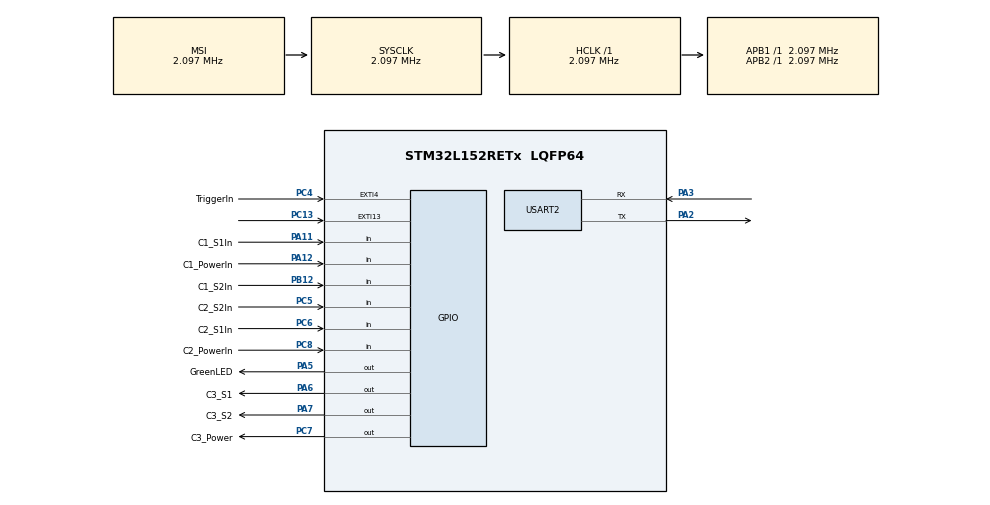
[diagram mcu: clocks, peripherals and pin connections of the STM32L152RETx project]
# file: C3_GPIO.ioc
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Mcu.Family=STM32L1
Mcu.Name=STM32L152RETx
Mcu.Package=LQFP64
NVIC.EXTI15_10_IRQn=true\:0\:0\:false\:false\:true\:true\:true
NVIC.EXTI4_IRQn=true\:0\:0\:false\:false\:true\:true\:true
NVIC.PriorityGroup=NVIC_PRIORITYGROUP_4
PA11.GPIO_Label=C1_S1In
PA11.Signal=GPIO_Input
PA12.GPIO_Label=C1_PowerIn
PA12.Signal=GPIO_Input
PA2.Mode=Asynchronous
PA2.Signal=USART2_TX
PA3.Mode=Asynchronous
PA3.Signal=USART2_RX
PA5.GPIO_Label=GreenLED
PA5.Signal=GPIO_Output
PA6.GPIO_Label=C3_S1
PA6.Signal=GPIO_Output
PA7.GPIO_Label=C3_S2
PA7.Signal=GPIO_Output
PB12.GPIO_Label=C1_S2In
PB12.Signal=GPIO_Input
PC13-WKUP2.GPIO_ModeDefaultEXTI=GPIO_MODE_IT_FALLING
PC13-WKUP2.Signal=GPXTI13
PC4.GPIO_Label=TriggerIn
PC4.GPIO_ModeDefaultEXTI=GPIO_MODE_IT_FALLING
PC4.Signal=GPXTI4
PC5.GPIO_Label=C2_S2In
PC5.Signal=GPIO_Input
PC6.GPIO_Label=C2_S1In
PC6.Signal=GPIO_Input
PC7.GPIO_Label=C3_Power
PC7.Signal=GPIO_Output
PC8.GPIO_Label=C2_PowerIn
PC8.Signal=GPIO_Input
ProjectManager.HeapSize=0x200
ProjectManager.StackSize=0x400
ProjectManager.TargetToolchain=MDK-ARM V5.27
RCC.48MHZClocksFreq_Value=24000000
RCC.AHBFreq_Value=2097000
RCC.APB1Freq_Value=2097000
RCC.APB1TimFreq_Value=2097000
RCC.APB2Freq_Value=2097000
RCC.APB2TimFreq_Value=2097000
RCC.HCLKFreq_Value=2097000
RCC.HSE_VALUE=24000000
RCC.HSI_VALUE=16000000
RCC.LSE_VALUE=32768
RCC.MSI_VALUE=2097000
RCC.SYSCLKFreq_VALUE=2097000
RCC.VCOOutputFreq_Value=48000000
USART2.VirtualMode=VM_ASYNC
board=custom

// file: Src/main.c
/* USER CODE BEGIN Header */
/**
  ******************************************************************************
  * @file           : main.c
  * @brief          : Main program body
  ******************************************************************************
  * @attention
  *
  * <h2><center>&copy; Copyright (c) 2020 STMicroelectronics.
  * All rights reserved.</center></h2>
  *
  * This software component is licensed by ST under BSD 3-Clause license,
  * the "License"; You may not use this file except in compliance with the
  * License. You may obtain a copy of the License at:
  *                        opensource.org/licenses/BSD-3-Clause
  *
  ******************************************************************************
  */
/* USER CODE END Header */

#include "main.h"

/* USER CODE BEGIN Includes */
#include <stdio.h>
/* USER CODE END Includes */

/* USER CODE BEGIN PTD */
typedef enum{
	P_Core = 0x7, S_Core = 0x5, Reboot = 0x1, Sleep = 0x6, Killed = 0x0
}States;

typedef enum{
	ThreeCore = 0 , TwoCore =  1 , OneCore = 2
}CoreStatus;
/* USER CODE END PTD */

/* USER CODE BEGIN PD */
#define Power 1
#define NoPower 0

/* USER CODE END PD */

/* USER CODE BEGIN PM */

#define Read(gpio, pin) HAL_GPIO_ReadPin(gpio, pin)
#define Combine(pin1, pin2, pin3) (pin1 << 2) | (pin2 << 1) | pin1
/* USER CODE END PM */

UART_HandleTypeDef huart2;

/* USER CODE BEGIN PV */
int trigger = 0;

/* USER CODE END PV */

void SystemClock_Config(void);
static void MX_GPIO_Init(void);
static void MX_USART2_UART_Init(void);
/* USER CODE BEGIN PFP */
void display_LED(States *state);
States state_checker(States my_state);
CoreStatus power_checker(void);
void GOTHEFUCKTOSLEEP(void);
/* USER CODE END PFP */

/* USER CODE BEGIN 0 */
char Msg1[100] = {0};

/* USER CODE END 0 */

int main(void)
{
  /* USER CODE BEGIN 1 */
	States state;
	CoreStatus power;
	state = S_Core;
	power = ThreeCore;
  /* USER CODE END 1 */

  /* MCU Configuration--------------------------------------------------------*/

  /* Reset of all peripherals, Initializes the Flash interface and the Systick. */
  HAL_Init();

  /* Configure the system clock */
  SystemClock_Config();

  /* Initialize all configured peripherals */
  MX_GPIO_Init();
  MX_USART2_UART_Init();

  /* Infinite loop */
  while (1)
  {

    /* USER CODE BEGIN 3 */
		//POLL POWER STATUS FROM EACH CORE
		//spower = power_checker();

			if(trigger == 1){
					switch(state){
						case P_Core:
														snprintf((char *)Msg1, sizeof(Msg1), "\r\nP_Core\r\n");
							HAL_UART_Transmit(&huart2, (uint8_t *) Msg1, sizeof(Msg1), 1);
							//if( power == ThreeCore || power == TwoCore) state = S_Core;
							//else state = P_Core;
							state = S_Core;
					//	HAL_GPIO_WritePin(GPIOA, GreenLED_Pin, GPIO_PIN_SET);
							//state = state_checker(state);
							break;
						case S_Core:
							snprintf((char *)Msg1, sizeof(Msg1), "\r\nS_Core\r\n");
							HAL_UART_Transmit(&huart2, (uint8_t *) Msg1, sizeof(Msg1), 1);
							//if(power == ThreeCore || power == TwoCore) state = Reboot;
							//If you are the only core
							//if(power == OneCore) state = P_Core;
							state = Reboot;
						//HAL_GPIO_WritePin(GPIOA, GreenLED_Pin, GPIO_PIN_SET);
							break;
						case Reboot:
							//if(power == ThreeCore) state = Sleep;
						  //else if(power == TwoCore) state = P_Core;
							state = Sleep;
						//HAL_GPIO_WritePin(GPIOA, GreenLED_Pin, GPIO_PIN_SET);
							break;
						case Sleep:
							//UNIQUE TO THREECORE
							state = P_Core;
						//HAL_GPIO_WritePin(GPIOA, GreenLED_Pin, GPIO_PIN_SET);
							break;
						case Killed:
							state = Killed;
							HAL_GPIO_WritePin(GPIOC, C3_Power_Pin, GPIO_PIN_RESET);
							break;
					}
					//RESET TRIGGER
					trigger = 0;
			}
			//display_LED(&state);
			#if 0
			else{

				if(state == Sleep){
					snprintf((char *)Msg1, sizeof(Msg1), "\r\nSleep soon\r\n");
					HAL_UART_Transmit(&huart2, (uint8_t *) Msg1, sizeof(Msg1), 1);
					//HAL_Delay(2500);
					//going to sleep
					GOTHEFUCKTOSLEEP();
					//woke up
					snprintf((char *)Msg1, sizeof(Msg1), "\r\nWoke Up\r\n");
					HAL_UART_Transmit(&huart2, (uint8_t *) Msg1, sizeof(Msg1), 1);

					/*
					for(int i = 0; i < 5; ++i){
						HAL_GPIO_TogglePin(GPIOA, GPIO_PIN_5);
						HAL_Delay(150);
					}
					*/
			}
		}
		#endif
		if(state == Sleep){
			//HAL_GPIO_WritePin(GPIOA, GreenLED_Pin, GPIO_PIN_SET);
			snprintf((char *)Msg1, sizeof(Msg1), "\r\nSleep soon\r\n");
			HAL_UART_Transmit(&huart2, (uint8_t *) Msg1, sizeof(Msg1), 1);

			GOTHEFUCKTOSLEEP();
					for(int i = 0; i < 5; ++i){
						HAL_GPIO_TogglePin(GPIOA, GPIO_PIN_5);
						HAL_Delay(150);
					}
					snprintf((char *)Msg1, sizeof(Msg1), "\r\nWoke Up\r\n");
					HAL_UART_Transmit(&huart2, (uint8_t *) Msg1, sizeof(Msg1), 1);
		}
		snprintf((char *)Msg1, sizeof(Msg1), "\r\nstate:%d %d\r\n", state, power);
		HAL_UART_Transmit(&huart2, (uint8_t *) Msg1, sizeof(Msg1), 1);
		//display_LED(&state);
		//HAL_Delay(500);

  }
  /* USER CODE END 3 */
}

void SystemClock_Config(void)
{
  RCC_OscInitTypeDef RCC_OscInitStruct = {0};
  RCC_ClkInitTypeDef RCC_ClkInitStruct = {0};

  /** Configure the main internal regulator output voltage
  */
  __HAL_PWR_VOLTAGESCALING_CONFIG(PWR_REGULATOR_VOLTAGE_SCALE1);
  /** Initializes the CPU, AHB and APB busses clocks
  */
  RCC_OscInitStruct.OscillatorType = RCC_OSCILLATORTYPE_MSI;
  RCC_OscInitStruct.MSIState = RCC_MSI_ON;
  RCC_OscInitStruct.MSICalibrationValue = 0;
  RCC_OscInitStruct.MSIClockRange = RCC_MSIRANGE_5;
  RCC_OscInitStruct.PLL.PLLState = RCC_PLL_NONE;
  if (HAL_RCC_OscConfig(&RCC_OscInitStruct) != HAL_OK)
  {
    Error_Handler();
  }
  /** Initializes the CPU, AHB and APB busses clocks
  */
  RCC_ClkInitStruct.ClockType = RCC_CLOCKTYPE_HCLK|RCC_CLOCKTYPE_SYSCLK
                              |RCC_CLOCKTYPE_PCLK1|RCC_CLOCKTYPE_PCLK2;
  RCC_ClkInitStruct.SYSCLKSource = RCC_SYSCLKSOURCE_MSI;
  RCC_ClkInitStruct.AHBCLKDivider = RCC_SYSCLK_DIV1;
  RCC_ClkInitStruct.APB1CLKDivider = RCC_HCLK_DIV1;
  RCC_ClkInitStruct.APB2CLKDivider = RCC_HCLK_DIV1;

  if (HAL_RCC_ClockConfig(&RCC_ClkInitStruct, FLASH_LATENCY_0) != HAL_OK)
  {
    Error_Handler();
  }
}

static void MX_USART2_UART_Init(void)
{

  huart2.Instance = USART2;
  huart2.Init.BaudRate = 115200;
  huart2.Init.WordLength = UART_WORDLENGTH_8B;
  huart2.Init.StopBits = UART_STOPBITS_1;
  huart2.Init.Parity = UART_PARITY_NONE;
  huart2.Init.Mode = UART_MODE_TX_RX;
  huart2.Init.HwFlowCtl = UART_HWCONTROL_NONE;
  huart2.Init.OverSampling = UART_OVERSAMPLING_16;
  if (HAL_UART_Init(&huart2) != HAL_OK)
  {
    Error_Handler();
  }

}

static void MX_GPIO_Init(void)
{
  GPIO_InitTypeDef GPIO_InitStruct = {0};

  /* GPIO Ports Clock Enable */
  __HAL_RCC_GPIOC_CLK_ENABLE();
  __HAL_RCC_GPIOA_CLK_ENABLE();
  __HAL_RCC_GPIOB_CLK_ENABLE();

  /*Configure GPIO pin Output Level */
  HAL_GPIO_WritePin(GPIOA, GreenLED_Pin|C3_S1_Pin|C3_S2_Pin, GPIO_PIN_RESET);

  /*Configure GPIO pin Output Level */
  HAL_GPIO_WritePin(C3_Power_GPIO_Port, C3_Power_Pin, GPIO_PIN_RESET);

  /*Configure GPIO pins : PC13 TriggerIn_Pin */
  GPIO_InitStruct.Pin = GPIO_PIN_13|TriggerIn_Pin;
  GPIO_InitStruct.Mode = GPIO_MODE_IT_FALLING;
  GPIO_InitStruct.Pull = GPIO_NOPULL;
  HAL_GPIO_Init(GPIOC, &GPIO_InitStruct);

  /*Configure GPIO pins : GreenLED_Pin C3_S1_Pin C3_S2_Pin */
  GPIO_InitStruct.Pin = GreenLED_Pin|C3_S1_Pin|C3_S2_Pin;
  GPIO_InitStruct.Mode = GPIO_MODE_OUTPUT_PP;
  GPIO_InitStruct.Pull = GPIO_NOPULL;
  GPIO_InitStruct.Speed = GPIO_SPEED_FREQ_LOW;
  HAL_GPIO_Init(GPIOA, &GPIO_InitStruct);

  /*Configure GPIO pins : C2_S2In_Pin C2_S1In_Pin C2_PowerIn_Pin */
  GPIO_InitStruct.Pin = C2_S2In_Pin|C2_S1In_Pin|C2_PowerIn_Pin;
  GPIO_InitStruct.Mode = GPIO_MODE_INPUT;
  GPIO_InitStruct.Pull = GPIO_NOPULL;
  HAL_GPIO_Init(GPIOC, &GPIO_InitStruct);

  /*Configure GPIO pin : C1_S2In_Pin */
  GPIO_InitStruct.Pin = C1_S2In_Pin;
  GPIO_InitStruct.Mode = GPIO_MODE_INPUT;
  GPIO_InitStruct.Pull = GPIO_NOPULL;
  HAL_GPIO_Init(C1_S2In_GPIO_Port, &GPIO_InitStruct);

  /*Configure GPIO pin : C3_Power_Pin */
  GPIO_InitStruct.Pin = C3_Power_Pin;
  GPIO_InitStruct.Mode = GPIO_MODE_OUTPUT_PP;
  GPIO_InitStruct.Pull = GPIO_NOPULL;
  GPIO_InitStruct.Speed = GPIO_SPEED_FREQ_LOW;
  HAL_GPIO_Init(C3_Power_GPIO_Port, &GPIO_InitStruct);

  /*Configure GPIO pins : C1_S1In_Pin C1_PowerIn_Pin */
  GPIO_InitStruct.Pin = C1_S1In_Pin|C1_PowerIn_Pin;
  GPIO_InitStruct.Mode = GPIO_MODE_INPUT;
  GPIO_InitStruct.Pull = GPIO_NOPULL;
  HAL_GPIO_Init(GPIOA, &GPIO_InitStruct);

  /* EXTI interrupt init*/
  HAL_NVIC_SetPriority(EXTI4_IRQn, 0, 0);
  HAL_NVIC_EnableIRQ(EXTI4_IRQn);

  HAL_NVIC_SetPriority(EXTI15_10_IRQn, 0, 0);
  HAL_NVIC_EnableIRQ(EXTI15_10_IRQn);

}

/* USER CODE BEGIN 4 */
void HAL_GPIO_EXTI_Callback(uint16_t GPIO_Pin){
			if(GPIO_Pin == GPIO_PIN_13 || GPIO_Pin == GPIO_PIN_4){
				//HAL_GPIO_TogglePin(GPIOA, GreenLED_Pin);
				trigger = 1;
		}
	else{
		__NOP();
	}
}

void GOTHEFUCKTOSLEEP(void){
		HAL_SuspendTick();

		HAL_PWR_EnterSLEEPMode(PWR_MAINREGULATOR_ON, PWR_SLEEPENTRY_WFI);

		HAL_ResumeTick();

}

/* USER CODE END 4 */

void Error_Handler(void)
{
}

/************************ (C) COPYRIGHT STMicroelectronics *****END OF FILE****/
